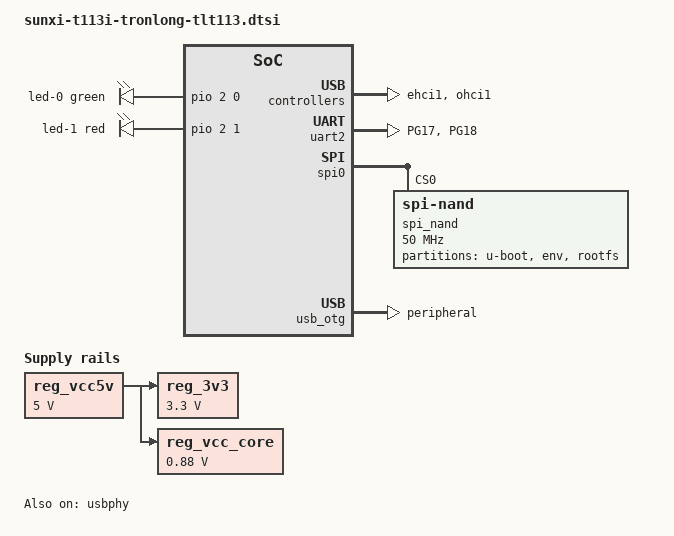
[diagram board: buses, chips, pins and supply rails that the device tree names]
// SPDX-License-Identifier: (GPL-2.0+ OR MIT)
// Copyright (C) 2022 Arm Ltd.
/*
 * Common peripherals and configurations for MangoPi MQ-R boards.
 */

#include <dt-bindings/gpio/gpio.h>
#include <dt-bindings/leds/common.h>

/ {
	aliases {
		serial2 = &uart2;
	};

	chosen {
		stdout-path = "serial2:115200n8";
	};

	leds {
		compatible = "gpio-leds";

		led-0 {
			color = <LED_COLOR_ID_GREEN>;
			function = LED_FUNCTION_STATUS;
			gpios = <&pio 2 0 GPIO_ACTIVE_HIGH>; /* PC0 */
		};

		led-1 {
			color = <LED_COLOR_ID_RED>;
			function = LED_FUNCTION_STATUS;
			gpios = <&pio 2 1 GPIO_ACTIVE_HIGH>; /* PC1 */
		};

	};

	/* EC2232E DC/DC regulator on SoM */
	reg_vcc5v: regulator-5v {
		compatible = "regulator-fixed";
		regulator-name = "vcc-5v";
		regulator-min-microvolt = <5000000>;
		regulator-max-microvolt = <5000000>;
		regulator-always-on;
	};

	/* EC2232E DC/DC regulator on SoM */
	reg_3v3: regulator-3v3 {
		compatible = "regulator-fixed";
		regulator-name = "vcc-3v3";
		regulator-min-microvolt = <3300000>;
		regulator-max-microvolt = <3300000>;
		vin-supply = <&reg_vcc5v>;
	};

	/* EC2232E DC/DC regulator on SoM, also supplying VDD-SYS */
	reg_vcc_core: regulator-core {
		compatible = "regulator-fixed";
		regulator-name = "vcc-core";
		regulator-min-microvolt = <880000>;
		regulator-max-microvolt = <880000>;
		vin-supply = <&reg_vcc5v>;
	};
};

&dcxo {
	clock-frequency = <24000000>;
};

&ehci1 {
	status = "okay";
};

&ohci1 {
	status = "okay";
};

&pio {
	vcc-pb-supply = <&reg_3v3>;
	vcc-pd-supply = <&reg_3v3>;
	vcc-pe-supply = <&reg_3v3>;
	vcc-pf-supply = <&reg_3v3>;
	vcc-pg-supply = <&reg_3v3>;

	uart2_pg_pins: uart2_pg_pins {
		pins = "PG17", "PG18";
		function = "uart2";
	};
};

&uart2 {
	bootph-all;
	pinctrl-names = "default";
	pinctrl-0 = <&uart2_pg_pins>;
	status = "okay";
};

&spi0 {
	bootph-all;
	pinctrl-names = "default";
	pinctrl-0 = <&spi0_pins>;
	status = "okay";

	spi_nand@0 {
		bootph-all;
		compatible = "spi-nand";
		reg = <0>;
		spi-max-frequency = <50000000>;
		partitions {
			#address-cells = <1>;
			#size-cells = <1>;

			compatible = "fixed-partitions";
			partition@0 {
				label = "u-boot";
				reg = <0x0 0x100000>; /* 1MB */
			};

			partition@100000 {
				label = "env";
				reg = <0x100000 0x400000>; /* 4MB */
			};

			partition@500000 {
				label = "rootfs";
				reg = <0x500000 0xfb00000>; /* 251MB */
			};
		};
	};
};

/* The USB-C socket has its CC pins pulled to GND, so is hardwired as a UFP. */
&usb_otg {
	dr_mode = "peripheral";
	status = "okay";
};

&usbphy {
	usb1_vbus-supply = <&reg_vcc5v>;
	status = "okay";
};
